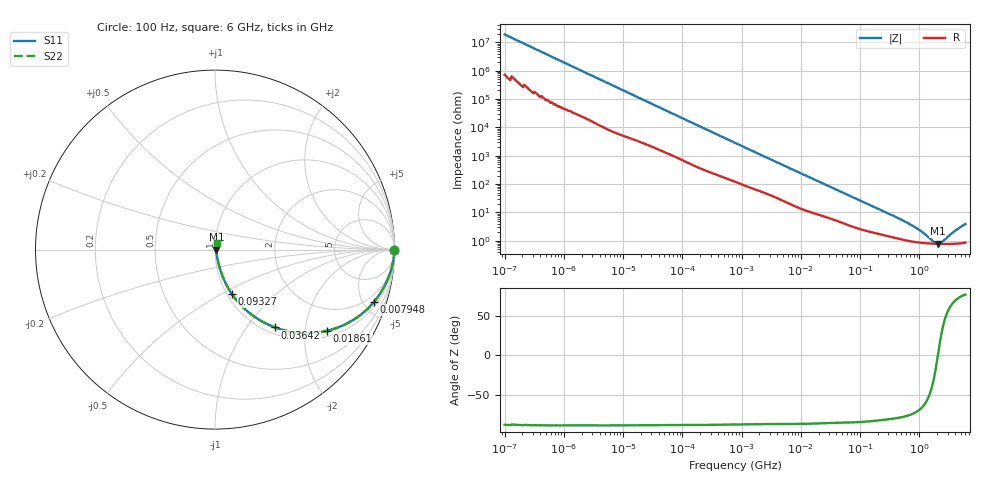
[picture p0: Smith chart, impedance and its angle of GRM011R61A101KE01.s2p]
!Murata Part Number: GRM011R61A101KE01
!These Parameters are Measured in Series Mode Connection
!Data Generated on Mar 30, 2021
!  o--ll--o
!Port1  Port2
!  o------o
!Operation Temp=25[degC], DC Bias Voltage=0[V]
!Freq. Start=100[Hz] Stop=6[GHz] 401[Steps]
# Hz S RI R 50
!Freq.(Hz) S11(Real) S11(Imag) S21(Real) S21(Imag) S12(Real) S12(Imag) S22(Real) S22(Imag)
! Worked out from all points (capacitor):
!   401 points, 100 Hz to 6 GHz, reference 50 ohm
!   read as one part in series: C = 83.9 pF near 109 Hz
!   lowest |Z| = 783 mohm at 2.049 GHz (marker M1)
!   series resonance near 2.056 GHz, so ESL is about 71 pH
!   S11 on the Smith chart (normalised r, x): 100 Hz: open; 7.948 MHz: 1.33, -5.97; 18.61 MHz: 1.17, -2.62; 36.42 MHz: 1.11, -1.38; 93.27 MHz: 1.05, -0.56; 6 GHz: 1.02, +0.08
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100  1 -5.3e-06  2e-07 5.3e-06  2e-07 5.3e-06  1 -5.3e-06
2008  1 -0.000102  2.5e-06 0.000102  2.5e-06 0.000102  1 -0.000102
40335  0.9999 -0.00195  6.59e-05 0.00195  6.59e-05 0.00195  0.9999 -0.00195
774597  0.9973 -0.035  0.00272 0.035  0.00272 0.035  0.9973 -0.035
2837864  0.9787 -0.1202  0.0213 0.1202  0.0213 0.1202  0.9787 -0.1202
5079039  0.945 -0.2021  0.055 0.2021  0.055 0.2021  0.945 -0.2021
7947587  0.8865 -0.2907  0.1135 0.2907  0.1135 0.2907  0.8865 -0.2907
1.555665e7  0.6968 -0.4293  0.3032 0.4293  0.3032 0.4293  0.6968 -0.4293
1.86079e7  0.624 -0.4522  0.376 0.4522  0.376 0.4522  0.624 -0.4522
2.545746e7  0.4862 -0.4645  0.5138 0.4645  0.5138 0.4645  0.4862 -0.4645
3.64232e7  0.3353 -0.4339  0.6647 0.4339  0.6647 0.4339  0.3353 -0.4339
5.699437e7  0.189 -0.351  0.811 0.351  0.811 0.351  0.189 -0.351
9.326766e7  0.0935 -0.2471  0.9065 0.2471  0.9065 0.2471  0.0935 -0.2471
1.669249e8  0.0425 -0.15  0.9575 0.15  0.9575 0.15  0.0425 -0.15
3.124326e8  0.0213 -0.0841  0.9787 0.0841  0.9787 0.0841  0.0213 -0.0841
8.366708e8  0.00983 -0.0287  0.9902 0.0287  0.9902 0.0287  0.00983 -0.0287
1.197065e9  0.00852 -0.016  0.9915 0.016  0.9915 0.016  0.00852 -0.016
1.791126e9  0.00786 -0.00394  0.9921 0.00394  0.9921 0.00394  0.00786 -0.00394
2.048624e9  0.00777 -0.000105  0.9922 0.000105  0.9922 0.000105  0.00777 -0.000105
2.34314e9  0.00774 0.00374  0.9923 -0.00374  0.9923 -0.00374  0.00774 0.00374
4.009986e9  0.00824 0.0207  0.9918 -0.0207  0.9918 -0.0207  0.00824 0.0207
6e9  0.00998 0.0375  0.99 -0.0375  0.99 -0.0375  0.00998 0.0375
